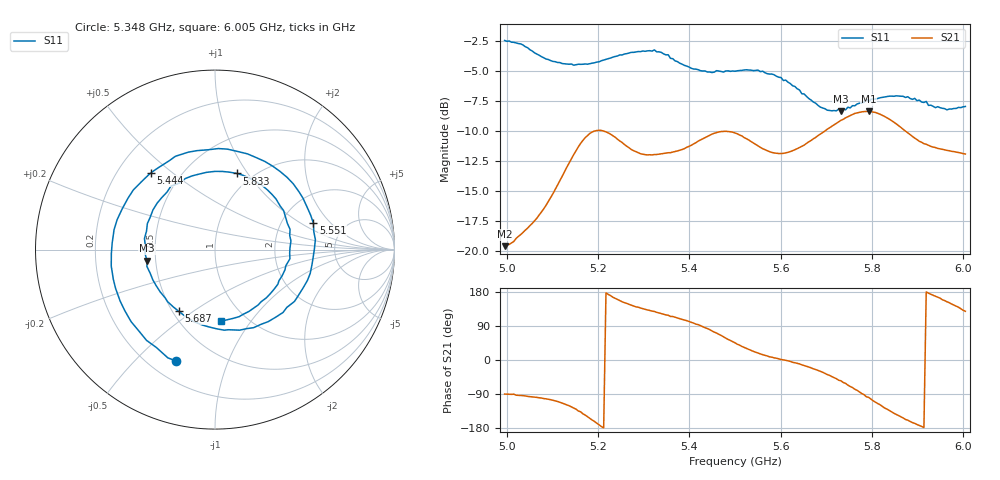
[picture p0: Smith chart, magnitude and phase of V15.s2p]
!File created by NanoVNA
# Hz S RI R 50
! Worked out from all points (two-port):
!   201 points, 4.995 GHz to 6.005 GHz, reference 50 ohm
!   highest |S21| = -8.35 dB at 5.793 GHz (marker M1); lowest = -19.6 dB at 4.995 GHz (marker M2)
!   |S21| within 3 dB of the highest: 5.394 GHz to 5.556 GHz (161.8 MHz wide, 2.96 % of centre); 5.642 GHz to 5.938 GHz (295.9 MHz wide, 5.11 % of centre)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
!   lowest |S11| = -8.3 dB at 5.732 GHz (marker M3), VSWR 2.25, Z = 22.4 - j3.28 ohm
!   |S11| at or under -10 dB: nowhere
!   S12 and S22 are empty: the file has one direction only
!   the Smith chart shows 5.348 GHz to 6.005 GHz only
!   S11 on the Smith chart (normalised r, x): 5.348 GHz: 0.30, -0.66; 5.444 GHz: 0.34, +0.42; 5.551 GHz: 3.00, +1.31; 5.687 GHz: 0.54, -0.44; 5.833 GHz: 0.84, +0.89; 6.005 GHz: 0.77, -0.73
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4.995e9  0.2101 -0.7247  0.00026 -0.105  0 0  0 0
5.03035e9  -0.3094 -0.6614  -0.008 -0.1171  0 0  0 0
5.0758e9  -0.64 -0.0865  -0.0262 -0.1433  0 0  0 0
5.1263e9  -0.3446 0.4953  -0.0941 -0.1925  0 0  0 0
5.1667e9  0.1134 0.5899  -0.2286 -0.1777  0 0  0 0
5.2172e9  0.5522 0.3043  -0.3137 0.0159  0 0  0 0
5.2576e9  0.6535 -0.1098  -0.2439 0.1339  0 0  0 0
5.33335e9  0.00775 -0.6767  -0.1425 0.2099  0 0  0 0
5.3485e9  -0.2195 -0.6196  -0.124 0.224  0 0  0 0
5.399e9  -0.578 -0.0915  -0.0553 0.2675  0 0  0 0
5.44445e9  -0.3593 0.4267  0.0511 0.2996  0 0  0 0
5.5e9  0.2262 0.5141  0.218 0.2215  0 0  0 0
5.5505e9  0.5481 0.1483  0.2607 0.0865  0 0  0 0
5.6212e9  0.2968 -0.4012  0.2594 -0.017  0 0  0 0
5.6717e9  -0.1188 -0.4008  0.2699 -0.1162  0 0  0 0
5.68685e9  -0.202 -0.3433  0.2668 -0.1525  0 0  0 0
5.7323e9  -0.379 -0.0625  0.2014 -0.2873  0 0  0 0
5.7929e9  -0.1978 0.3709  -0.0562 -0.3781  0 0  0 0
5.8333e9  0.1203 0.4244  -0.2291 -0.2767  0 0  0 0
5.83835e9  0.154 0.4146  -0.2431 -0.2583  0 0  0 0
5.91915e9  0.4174 -0.0512  -0.2788 0.00138  0 0  0 0
6.005e9  0.032 -0.3993  -0.1585 0.1985  0 0  0 0
